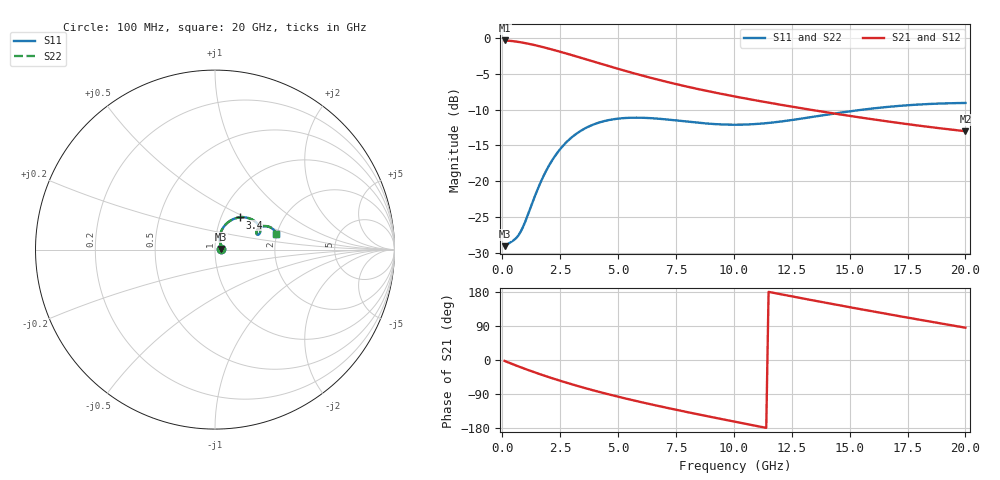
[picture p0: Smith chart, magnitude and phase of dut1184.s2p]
! Touchstone file exported from HFSS 2024.1.0
!  File:  C:/UserFiles/LocalFiles/RDL_TSV_Batchsim/temp_RDL_TSV_1184_1780126313.aedt
!  Generated:  03:45:56 PM May 30, 2026
!  Design:  RDL_TSV
!  Project:  temp_RDL_TSV_1184_1780126313
!  Setup:  Setup1
!  Solution:  Sweep
! Variables:
!  dtsv = 14.48um
!  hbump = 3um
!  htsv = 63.93um
!  ldown = 688.1um
!  lrdl = 505.36um
!  p = 40
!  p1 = 53.98um
!  rhole = 10um
!  subl = 4085.74um
!  t = 450um
!  tdown = 2.31um
!  trdl = 2.69um
!  viad = 10um
!  wdown = 11.91um
!  wrdl = 28.26um
!  xbump = 18um
# GHz S MA R 50.000000
! Terminal data exported
! Port[1] = TM1_1_T1
! Port[2] = TM1_4_T1
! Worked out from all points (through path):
!   200 points, 100 MHz to 20 GHz, reference 50 ohm
!   highest |S21| = -0.31 dB at 100 MHz (marker M1); lowest = -13.0 dB at 20 GHz (marker M2)
!   group delay of S21, straight-line fit = 36 ps
!   lowest |S11| = -29.1 dB at 100 MHz (marker M3), VSWR 1.07, Z = 53.6 + j0.451 ohm
!   |S11| at or under -10 dB: start of sweep to 15.56 GHz
!   |S22| runs from -29.1 to -9.0 dB; largest |S21 - S12| = 4.6e-13
!   S11 on the Smith chart (normalised r, x): 100 MHz: 1.07, +0.01; 3.4 GHz: 1.22, +0.46; 20 GHz: 1.98, +0.40
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0.1  0.03506 6.9  0.9646 -2.5  0.9646 -2.5  0.03507 6.9
! Gamma 0 0 0 0
! Port Impedance 50 0 50 0
0.6  0.03997 35.6  0.9472 -14.6  0.9472 -14.6  0.03996 35.5
0.8  0.04446 47.9  0.9363 -19.3  0.9363 -19.3  0.04443 47.8
1.2  0.06392 65.6  0.9098 -28.3  0.9098 -28.3  0.06385 65.5
1.7  0.1018 71.3  0.871 -38.9  0.871 -38.9  0.1017 71.3
2.1  0.1354 69.2  0.838 -47.0  0.838 -47.0  0.1352 69.2
2.5  0.1675 64.7  0.8043 -54.8  0.8043 -54.8  0.1673 64.7
2.9  0.196 59.5  0.7706 -62.2  0.7706 -62.2  0.1958 59.5
3.4  0.2255 52.7  0.7294 -71.1  0.7294 -71.1  0.2253 52.7
3.5  0.2305 51.4  0.7213 -72.8  0.7213 -72.8  0.2303 51.4
4.3  0.2604 41.6  0.6597 -86.1  0.6597 -86.1  0.2601 41.6
5.1  0.2748 33.5  0.6043 -98.3  0.6043 -98.3  0.2745 33.5
5.9  0.2779 27.2  0.5558 -109.8  0.5558 -109.8  0.2775 27.3
6.8  0.2729 22.3  0.5091 -122.1  0.5091 -122.1  0.2725 22.4
8.4  0.2567 19.0  0.4428 -142.7  0.4428 -142.7  0.2562 19.0
10.1  0.2481 21.0  0.3895 -163.5  0.3895 -163.5  0.2477 21.1
11.6  0.2563 24.2  0.3518 178.5  0.3518 178.5  0.2561 24.4
13.4  0.2814 26.1  0.3142 157.6  0.3142 157.6  0.2814 26.3
15  0.3077 25.0  0.2861 139.4  0.2861 139.4  0.3079 25.2
16.7  0.3313 22.0  0.2608 120.6  0.2608 120.6  0.3317 22.2
18.3  0.3458 18.4  0.2409 103.3  0.2409 103.3  0.3464 18.6
20  0.3523 14.5  0.2236 85.2  0.2236 85.2  0.3531 14.7
